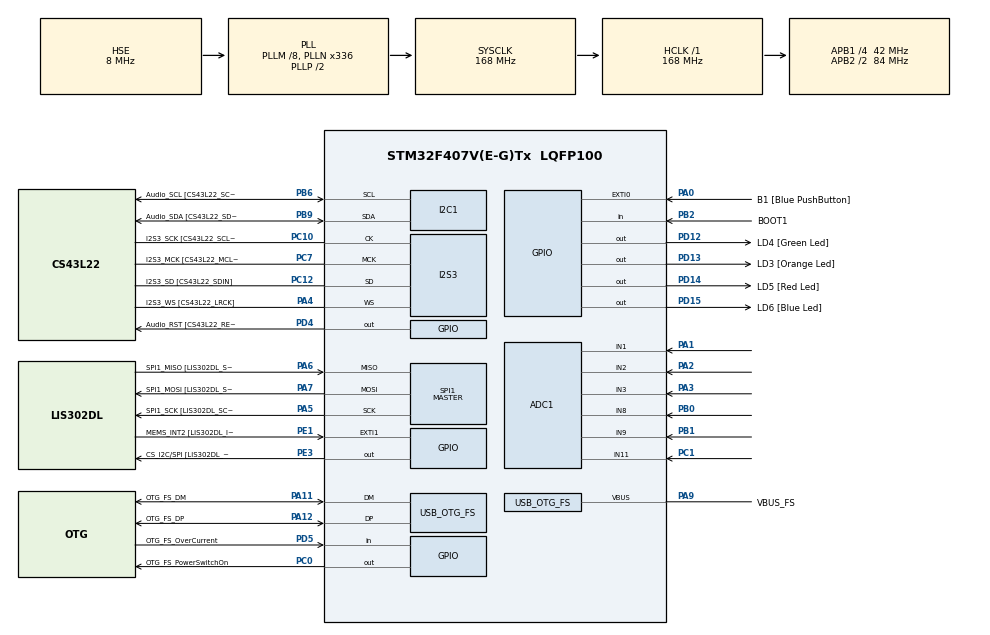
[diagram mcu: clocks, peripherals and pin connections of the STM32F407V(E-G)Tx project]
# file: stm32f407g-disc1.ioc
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ADC1.Channel-0\#ChannelRegularConversion=ADC_CHANNEL_1
ADC1.DMAContinuousRequests=ENABLE
ADC1.ExternalTrigConv=ADC_EXTERNALTRIGCONV_T3_TRGO
ADC1.NbrOfConversion=1
ADC1.NbrOfConversionFlag=1
ADC1.Rank-0\#ChannelRegularConversion=1
ADC1.SamplingTime-0\#ChannelRegularConversion=ADC_SAMPLETIME_3CYCLES
ADC1.ScanConvMode=ENABLE
ADC1.master=1
Dma.ADC1.0.Direction=DMA_PERIPH_TO_MEMORY
Dma.ADC1.0.FIFOMode=DMA_FIFOMODE_DISABLE
Dma.ADC1.0.Instance=DMA2_Stream0
Dma.ADC1.0.MemDataAlignment=DMA_MDATAALIGN_HALFWORD
Dma.ADC1.0.MemInc=DMA_MINC_ENABLE
Dma.ADC1.0.Mode=DMA_CIRCULAR
Dma.ADC1.0.PeriphDataAlignment=DMA_PDATAALIGN_HALFWORD
Dma.ADC1.0.PeriphInc=DMA_PINC_DISABLE
Dma.ADC1.0.Priority=DMA_PRIORITY_VERY_HIGH
Dma.Request0=ADC1
I2S3.AudioFreq-Half_Duplex_Master=I2S_AUDIOFREQ_96K
I2S3.ErrorAudioFreq=-2.34 %
I2S3.ErrorAudioFreq-Half_Duplex_Master=0.8 %
I2S3.FullDuplexMode=I2S_FULLDUPLEXMODE_DISABLE
I2S3.Instance=SPI$Index
I2S3.RealAudioFreq=93.75 KHz
I2S3.RealAudioFreq-Half_Duplex_Master=96.774 KHz
I2S3.VirtualMode=I2S_MODE_MASTER
Mcu.Family=STM32F4
Mcu.Name=STM32F407V(E-G)Tx
Mcu.Package=LQFP100
NVIC.DMA2_Stream0_IRQn=true\:0\:0\:false\:false\:true\:false\:true\:true
NVIC.OTG_FS_IRQn=true\:0\:0\:false\:false\:true\:true\:true\:true
NVIC.PriorityGroup=NVIC_PRIORITYGROUP_2
NVIC.TIM4_IRQn=true\:1\:0\:true\:false\:true\:true\:true\:true
NVIC.TIM5_IRQn=true\:2\:0\:true\:false\:true\:true\:true\:true
PA0-WKUP.GPIO_Label=B1 [Blue PushButton]
PA0-WKUP.GPIO_ModeDefaultEXTI=GPIO_MODE_EVT_RISING
PA0-WKUP.GPIO_PuPd=GPIO_NOPULL
PA0-WKUP.Signal=GPXTI0
PA1.Signal=ADCx_IN1
PA10.GPIO_Label=OTG_FS_ID
PA10.GPIO_Mode=GPIO_MODE_AF_PP
PA10.GPIO_PuPd=GPIO_NOPULL
PA10.GPIO_Speed=GPIO_SPEED_FREQ_LOW
PA10.Signal=USB_OTG_FS_ID
PA11.GPIO_Label=OTG_FS_DM
PA11.GPIO_Mode=GPIO_MODE_AF_PP
PA11.GPIO_PuPd=GPIO_NOPULL
PA11.GPIO_Speed=GPIO_SPEED_FREQ_LOW
PA11.Mode=Host_Only
PA11.Signal=USB_OTG_FS_DM
PA12.GPIO_Label=OTG_FS_DP
PA12.GPIO_Mode=GPIO_MODE_AF_PP
PA12.GPIO_PuPd=GPIO_NOPULL
PA12.GPIO_Speed=GPIO_SPEED_FREQ_LOW
PA12.Mode=Host_Only
PA12.Signal=USB_OTG_FS_DP
PA13.GPIO_Label=SWDIO
PA13.Mode=Serial_Wire
PA13.Signal=SYS_JTMS-SWDIO
PA14.GPIO_Label=SWCLK
PA14.Mode=Serial_Wire
PA14.Signal=SYS_JTCK-SWCLK
PA2.Signal=ADCx_IN2
PA3.Signal=ADCx_IN3
PA4.GPIO_Label=I2S3_WS [CS43L22_LRCK]
PA4.GPIO_Mode=GPIO_MODE_AF_PP
PA4.GPIO_PuPd=GPIO_NOPULL
PA4.GPIO_Speed=GPIO_SPEED_FREQ_LOW
PA4.Mode=Half_Duplex_Master
PA4.Signal=I2S3_WS
PA5.GPIO_Label=SPI1_SCK [LIS302DL_SCL/SPC]
PA5.GPIO_Mode=GPIO_MODE_AF_PP
PA5.GPIO_PuPd=GPIO_NOPULL
PA5.GPIO_Speed=GPIO_SPEED_FREQ_LOW
PA5.Mode=Full_Duplex_Master
PA5.Signal=SPI1_SCK
PA6.GPIO_Label=SPI1_MISO [LIS302DL_SDO]
PA6.GPIO_Mode=GPIO_MODE_AF_PP
PA6.GPIO_PuPd=GPIO_NOPULL
PA6.GPIO_Speed=GPIO_SPEED_FREQ_LOW
PA6.Mode=Full_Duplex_Master
PA6.Signal=SPI1_MISO
PA7.GPIO_Label=SPI1_MOSI [LIS302DL_SDA/SDI/SDO]
PA7.GPIO_Mode=GPIO_MODE_AF_PP
PA7.GPIO_PuPd=GPIO_NOPULL
PA7.GPIO_Speed=GPIO_SPEED_FREQ_LOW
PA7.Mode=Full_Duplex_Master
PA7.Signal=SPI1_MOSI
PA9.GPIO_Label=VBUS_FS
PA9.GPIO_Mode=GPIO_MODE_INPUT
PA9.GPIO_PuPd=GPIO_NOPULL
PA9.Mode=Activate_VBUS
PA9.Signal=USB_OTG_FS_VBUS
PB0.Signal=ADCx_IN8
PB1.Signal=ADCx_IN9
PB10.GPIO_Label=CLK_IN [MP45DT02_CLK]
PB10.GPIO_Mode=GPIO_MODE_AF_PP
PB10.GPIO_PuPd=GPIO_NOPULL
PB10.GPIO_Speed=GPIO_SPEED_FREQ_LOW
PB10.Signal=I2S2_CK
PB2.GPIO_Label=BOOT1
PB2.GPIO_Mode=GPIO_MODE_INPUT
PB2.GPIO_PuPd=GPIO_NOPULL
PB2.Signal=GPIO_Input
PB3.GPIO_Label=SWO
PB3.Signal=SYS_JTDO-SWO
PB6.GPIO_Label=Audio_SCL [CS43L22_SCL]
PB6.GPIO_Mode=GPIO_MODE_AF_OD
PB6.GPIO_Pu=GPIO_PULLUP
PB6.GPIO_PuPd=GPIO_NOPULL
PB6.GPIO_Speed=GPIO_SPEED_FREQ_LOW
PB6.Mode=I2C
PB6.Signal=I2C1_SCL
PB9.GPIO_Label=Audio_SDA [CS43L22_SDA]
PB9.GPIO_Mode=GPIO_MODE_AF_OD
PB9.GPIO_Pu=GPIO_PULLUP
PB9.GPIO_PuPd=GPIO_NOPULL
PB9.GPIO_Speed=GPIO_SPEED_FREQ_LOW
PB9.Mode=I2C
PB9.Signal=I2C1_SDA
PC0.GPIO_Label=OTG_FS_PowerSwitchOn
PC0.GPIO_PuPd=GPIO_NOPULL
PC0.GPIO_Speed=GPIO_SPEED_FREQ_LOW
PC0.PinState=GPIO_PIN_SET
PC0.Signal=GPIO_Output
PC1.Signal=ADCx_IN11
PC10.GPIO_Label=I2S3_SCK [CS43L22_SCLK]
PC10.GPIO_Mode=GPIO_MODE_AF_PP
PC10.GPIO_PuPd=GPIO_NOPULL
PC10.GPIO_Speed=GPIO_SPEED_FREQ_LOW
PC10.Mode=Half_Duplex_Master
PC10.Signal=I2S3_CK
PC12.GPIO_Label=I2S3_SD [CS43L22_SDIN]
PC12.GPIO_Mode=GPIO_MODE_AF_PP
PC12.GPIO_PuPd=GPIO_NOPULL
PC12.GPIO_Speed=GPIO_SPEED_FREQ_LOW
PC12.Mode=Half_Duplex_Master
PC12.Signal=I2S3_SD
PC14-OSC32_IN.GPIO_Label=PC14-OSC32_IN
PC14-OSC32_IN.Mode=LSE-External-Oscillator
PC14-OSC32_IN.Signal=RCC_OSC32_IN
PC15-OSC32_OUT.GPIO_Label=PC15-OSC32_OUT
PC15-OSC32_OUT.Mode=LSE-External-Oscillator
PC15-OSC32_OUT.Signal=RCC_OSC32_OUT
PC3.GPIO_Label=PDM_OUT [MP45DT02_DOUT]
PC3.GPIO_Mode=GPIO_MODE_AF_PP
PC3.GPIO_PuPd=GPIO_NOPULL
PC3.GPIO_Speed=GPIO_SPEED_FREQ_LOW
PC3.Signal=I2S2_SD
PC7.GPIO_Label=I2S3_MCK [CS43L22_MCLK]
PC7.GPIO_Mode=GPIO_MODE_AF_PP
PC7.GPIO_PuPd=GPIO_NOPULL
PC7.GPIO_Speed=GPIO_SPEED_FREQ_LOW
PC7.Mode=Master_Clock_Activated
PC7.Signal=I2S3_MCK
PD12.GPIO_Label=LD4 [Green Led]
PD12.GPIO_PuPd=GPIO_NOPULL
PD12.GPIO_Speed=GPIO_SPEED_FREQ_LOW
PD12.Signal=GPIO_Output
PD13.GPIO_Label=LD3 [Orange Led]
PD13.GPIO_PuPd=GPIO_NOPULL
PD13.GPIO_Speed=GPIO_SPEED_FREQ_LOW
PD13.Signal=GPIO_Output
PD14.GPIO_Label=LD5 [Red Led]
PD14.GPIO_PuPd=GPIO_NOPULL
PD14.GPIO_Speed=GPIO_SPEED_FREQ_LOW
PD14.Signal=GPIO_Output
PD15.GPIO_Label=LD6 [Blue Led]
PD15.GPIO_PuPd=GPIO_NOPULL
PD15.GPIO_Speed=GPIO_SPEED_FREQ_LOW
PD15.Signal=GPIO_Output
PD4.GPIO_Label=Audio_RST [CS43L22_RESET]
PD4.GPIO_PuPd=GPIO_NOPULL
PD4.GPIO_Speed=GPIO_SPEED_FREQ_LOW
PD4.Signal=GPIO_Output
PD5.GPIO_Label=OTG_FS_OverCurrent
PD5.GPIO_Mode=GPIO_MODE_INPUT
PD5.GPIO_PuPd=GPIO_NOPULL
PD5.Signal=GPIO_Input
PE1.GPIO_Label=MEMS_INT2 [LIS302DL_INT2]
PE1.GPIO_ModeDefaultEXTI=GPIO_MODE_EVT_RISING
PE1.GPIO_PuPd=GPIO_NOPULL
PE1.Signal=GPXTI1
PE3.GPIO_Label=CS_I2C/SPI [LIS302DL_CS_I2C/SPI]
PE3.GPIO_PuPd=GPIO_NOPULL
PE3.GPIO_Speed=GPIO_SPEED_FREQ_LOW
PE3.Signal=GPIO_Output
PH0-OSC_IN.GPIO_Label=PH0-OSC_IN
PH0-OSC_IN.Mode=HSE-External-Oscillator
PH0-OSC_IN.Signal=RCC_OSC_IN
PH1-OSC_OUT.GPIO_Label=PH1-OSC_OUT
PH1-OSC_OUT.Mode=HSE-External-Oscillator
PH1-OSC_OUT.Signal=RCC_OSC_OUT
ProjectManager.HeapSize=0x200
ProjectManager.StackSize=0x400
ProjectManager.TargetToolchain=CMake
RCC.48MHZClocksFreq_Value=48000000
RCC.AHBFreq_Value=168000000
RCC.APB1CLKDivider=RCC_HCLK_DIV4
RCC.APB1Freq_Value=42000000
RCC.APB1TimFreq_Value=84000000
RCC.APB2CLKDivider=RCC_HCLK_DIV2
RCC.APB2Freq_Value=84000000
RCC.APB2TimFreq_Value=168000000
RCC.CortexFreq_Value=168000000
RCC.HCLKFreq_Value=168000000
RCC.HSE_VALUE=8000000
RCC.HSI_VALUE=16000000
RCC.PLLM=8
RCC.PLLN=336
RCC.PLLQ=7
RCC.SYSCLKFreq_VALUE=168000000
RCC.SYSCLKSource=RCC_SYSCLKSOURCE_PLLCLK
RCC.VCOOutputFreq_Value=336000000
SH.ADCx_IN1.0=ADC1_IN1,IN1
SH.ADCx_IN11.0=ADC1_IN11,IN11
SH.ADCx_IN2.0=ADC1_IN2,IN2
SH.ADCx_IN3.0=ADC1_IN3,IN3
SH.ADCx_IN8.0=ADC1_IN8,IN8
SH.ADCx_IN9.0=ADC1_IN9,IN9
SPI1.BaudRatePrescaler-Full_Duplex_Master=SPI_BAUDRATEPRESCALER_2
SPI1.CalculateBaudRate-Full_Duplex_Master=42.0 MBits/s
SPI1.Direction=SPI_DIRECTION_2LINES
SPI1.Mode=SPI_MODE_MASTER
SPI1.Mode-Full_Duplex_Master=SPI_MODE_MASTER
SPI1.VirtualType=VM_MASTER
TIM3.Period=16799
TIM3.TIM_MasterOutputTrigger=TIM_TRGO_UPDATE
TIM3.TIM_MasterSlaveMode=TIM_MASTERSLAVEMODE_DISABLE
TIM4.Period=999
TIM4.Prescaler=83
TIM5.Period=9999
TIM5.Prescaler=83
USB_HOST.BSP.number=1
USB_HOST.USBH_HandleTypeDef-CDC_FS=hUsbHostFS
USB_HOST.VirtualModeFS=Cdc
USB_HOST0.BSP.STBoard=false
USB_HOST0.BSP.api=Unknown
USB_HOST0.BSP.instance=PC0
USB_HOST0.BSP.ip=GPIO
USB_HOST0.BSP.mode=Output
USB_HOST0.BSP.name=Drive_VBUS_FS
USB_HOST0.BSP.solution=PC0
USB_OTG_FS.VirtualMode=Host_Only
USB_OTG_FS.phy_itface=HCD_PHY_EMBEDDED
VP_TIM2_VS_ClockSourceINT.Mode=Internal
VP_TIM3_VS_ClockSourceINT.Mode=Internal
VP_TIM4_VS_ClockSourceINT.Mode=Internal
VP_TIM5_VS_ClockSourceINT.Mode=Internal
VP_USB_HOST_VS_USB_HOST_CDC_FS.Mode=CDC_FS
board=STM32F407G-DISC1

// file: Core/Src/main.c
/* USER CODE BEGIN Header */
/**
 ******************************************************************************
 * @file           : main.c
 * @brief          : Main program body
 ******************************************************************************
 * @attention
 *
 * Copyright (c) 2025 STMicroelectronics.
 * All rights reserved.
 *
 * This software is licensed under terms that can be found in the LICENSE file
 * in the root directory of this software component.
 * If no LICENSE file comes with this software, it is provided AS-IS.
 *
 ******************************************************************************
 */
/* USER CODE END Header */
#include "main.h"

#include "usb_host.h"

/* USER CODE BEGIN PD */

// LED toggle counts for 1 Hz blink rate (500ms ON, 500ms OFF)
#define TASK1_TOGGLE_COUNT 2500  // Task 1 @ 200µs: 2500 × 200µs = 500ms
#define TASK2_TOGGLE_COUNT 500   // Task 2 @ 1ms:   500 × 1ms = 500ms
#define TASK3_TOGGLE_COUNT 50    // Task 3 @ 10ms:  50 × 10ms = 500ms

/* USER CODE END PD */

ADC_HandleTypeDef hadc1;
DMA_HandleTypeDef hdma_adc1;

I2C_HandleTypeDef hi2c1;

I2S_HandleTypeDef hi2s3;

SPI_HandleTypeDef hspi1;

TIM_HandleTypeDef htim2;
TIM_HandleTypeDef htim3;
TIM_HandleTypeDef htim4;
TIM_HandleTypeDef htim5;

/* USER CODE BEGIN PV */
// Task execution counters for LED visual feedback
static int task1_counter = 0;
static int task2_counter = 0;
static int task3_counter = 0;

// ADC DMA buffer - must be static/global for DMA access
static volatile uint16_t adc_dma_buffer[1];

// Diagnostic counters for debugging
volatile uint32_t g_adc_callback_count = 0;
volatile uint32_t g_tim4_callback_count = 0;
volatile uint32_t g_tim5_callback_count = 0;
volatile uint32_t g_adc_error_count = 0;

// Application initialization status
static bool application_ok = false;
/* USER CODE END PV */

void SystemClock_Config(void);
static void MX_GPIO_Init(void);
static void MX_DMA_Init(void);
static void MX_I2C1_Init(void);
static void MX_I2S3_Init(void);
static void MX_SPI1_Init(void);
static void MX_TIM2_Init(void);
static void MX_TIM3_Init(void);
static void MX_TIM4_Init(void);
static void MX_TIM5_Init(void);
static void MX_ADC1_Init(void);
void MX_USB_HOST_Process(void);

/* USER CODE BEGIN 0 */

// Include task I/O structures
#include "sfc_embedded/task_io.h"

// Forward declarations for task functions (defined in yeet application layer)
extern void yeet_task_200us(const task_inputs_t* inputs, task_outputs_t* outputs);
extern void yeet_task_1000us(const task_inputs_t* inputs, task_outputs_t* outputs);
extern void yeet_task_10000us(const task_inputs_t* inputs, task_outputs_t* outputs);

/* USER CODE END 0 */

int main(void)
{

    /* MCU Configuration--------------------------------------------------------*/

    /* Reset of all peripherals, Initializes the Flash interface and the Systick. */
    HAL_Init();

    /* USER CODE BEGIN Init */
    yeet_embedded_init();
    application_ok = true;
    /* USER CODE END Init */

    /* Configure the system clock */
    SystemClock_Config();

    /* Initialize all configured peripherals */
    MX_GPIO_Init();
    MX_DMA_Init();
    MX_I2C1_Init();
    MX_I2S3_Init();
    MX_SPI1_Init();
    MX_USB_HOST_Init();
    MX_TIM2_Init();
    MX_TIM3_Init();
    MX_TIM4_Init();
    MX_TIM5_Init();
    MX_ADC1_Init();
    /* USER CODE BEGIN 2 */

    // Verify DMA is initialized
    if (hdma_adc1.Instance == NULL) {
        Error_Handler();  // DMA not initialized!
    }

    // Start ADC with DMA
    HAL_StatusTypeDef adc_status = HAL_ADC_Start_DMA(&hadc1, (uint32_t*)adc_dma_buffer, 1);
    if (adc_status != HAL_OK) {
        Error_Handler();  // ADC/DMA start failed
    }

    // Verify ADC is in correct state
    if (hadc1.State != HAL_ADC_STATE_REG_BUSY) {
        Error_Handler();  // ADC didn't enter busy state
    }

    // Start timer trigger
    HAL_StatusTypeDef tim_status = HAL_TIM_Base_Start(&htim3);
    if (tim_status != HAL_OK) {
        Error_Handler();  // Timer start failed
    }

    // Visual confirmation: Flash all LEDs once to indicate successful startup
    HAL_GPIO_WritePin(GPIOD, GPIO_PIN_12 | GPIO_PIN_13 | GPIO_PIN_14 | GPIO_PIN_15, GPIO_PIN_SET);
    HAL_Delay(100);
    HAL_GPIO_WritePin(GPIOD, GPIO_PIN_12 | GPIO_PIN_13 | GPIO_PIN_14 | GPIO_PIN_15, GPIO_PIN_RESET);

    // Start other tasks
    HAL_TIM_Base_Start_IT(&htim4);
    HAL_TIM_Base_Start_IT(&htim5);

    /* USER CODE END 2 */

    /* Infinite loop */
    while (1) {
        MX_USB_HOST_Process();

        /* USER CODE BEGIN 3 */

        // ==================== NON-REAL-TIME NETWORK COMMUNICATION ====================
        // For boards with network (W5200), call yeet_network() here in main loop
        // This handles TCP/IP and UDP communication for supervisory control
        //
        // Example integration (uncomment and adapt for CN board):
        // static network_inputs_t net_inputs = {0};
        // static network_outputs_t net_outputs = {0};
        //
        // // Check for incoming TCP data
        // uint16_t rx_size = W5200_GetRxSize(&w5200_spi2, 0);
        // if (rx_size > 0 && rx_size <= TASK_IO_NETWORK_MAX_PACKET_SIZE) {
        //     net_inputs.network_rx.rx_length = W5200_Receive(&w5200_spi2, 0,
        //                                                      net_inputs.network_rx.rx_buffer,
        //                                                      rx_size);
        //     net_inputs.network_rx.data_ready = (net_inputs.network_rx.rx_length > 0);
        //     net_inputs.network_rx.tcp_connected = (W5200_GetSocketStatus(&w5200_spi2, 0) == W5200_SOCK_ESTABLISHED);
        //     net_inputs.network_rx.socket_id = 0;
        // }
        //
        // // Call network handler
        // yeet_network(&net_inputs, &net_outputs);
        //
        // // Transmit if requested
        // if (net_outputs.network_tx.transmit_request && net_inputs.network_rx.tcp_connected) {
        //     W5200_Send(&w5200_spi2, net_outputs.network_tx.socket_id,
        //                net_outputs.network_tx.tx_buffer,
        //                net_outputs.network_tx.tx_length);
        //     net_outputs.network_tx.transmit_request = false;
        // }
    }
    /* USER CODE END 3 */
}

void SystemClock_Config(void)
{
    RCC_OscInitTypeDef RCC_OscInitStruct = {0};
    RCC_ClkInitTypeDef RCC_ClkInitStruct = {0};

    /** Configure the main internal regulator output voltage
     */
    __HAL_RCC_PWR_CLK_ENABLE();
    __HAL_PWR_VOLTAGESCALING_CONFIG(PWR_REGULATOR_VOLTAGE_SCALE1);

    /** Initializes the RCC Oscillators according to the specified parameters
     * in the RCC_OscInitTypeDef structure.
     */
    RCC_OscInitStruct.OscillatorType = RCC_OSCILLATORTYPE_HSE;
    RCC_OscInitStruct.HSEState = RCC_HSE_ON;
    RCC_OscInitStruct.PLL.PLLState = RCC_PLL_ON;
    RCC_OscInitStruct.PLL.PLLSource = RCC_PLLSOURCE_HSE;
    RCC_OscInitStruct.PLL.PLLM = 8;
    RCC_OscInitStruct.PLL.PLLN = 336;
    RCC_OscInitStruct.PLL.PLLP = RCC_PLLP_DIV2;
    RCC_OscInitStruct.PLL.PLLQ = 7;
    if (HAL_RCC_OscConfig(&RCC_OscInitStruct) != HAL_OK) {
        Error_Handler();
    }

    /** Initializes the CPU, AHB and APB buses clocks
     */
    RCC_ClkInitStruct.ClockType = RCC_CLOCKTYPE_HCLK | RCC_CLOCKTYPE_SYSCLK | RCC_CLOCKTYPE_PCLK1 | RCC_CLOCKTYPE_PCLK2;
    RCC_ClkInitStruct.SYSCLKSource = RCC_SYSCLKSOURCE_PLLCLK;
    RCC_ClkInitStruct.AHBCLKDivider = RCC_SYSCLK_DIV1;
    RCC_ClkInitStruct.APB1CLKDivider = RCC_HCLK_DIV4;
    RCC_ClkInitStruct.APB2CLKDivider = RCC_HCLK_DIV2;

    if (HAL_RCC_ClockConfig(&RCC_ClkInitStruct, FLASH_LATENCY_5) != HAL_OK) {
        Error_Handler();
    }
}

static void MX_ADC1_Init(void)
{

    ADC_ChannelConfTypeDef sConfig = {0};

    /** Configure the global features of the ADC (Clock, Resolution, Data Alignment and number of conversion)
     */
    hadc1.Instance = ADC1;
    hadc1.Init.ClockPrescaler = ADC_CLOCK_SYNC_PCLK_DIV4;
    hadc1.Init.Resolution = ADC_RESOLUTION_12B;
    hadc1.Init.ScanConvMode = ENABLE;
    hadc1.Init.ContinuousConvMode = DISABLE;
    hadc1.Init.DiscontinuousConvMode = DISABLE;
    hadc1.Init.ExternalTrigConvEdge = ADC_EXTERNALTRIGCONVEDGE_RISING;
    hadc1.Init.ExternalTrigConv = ADC_EXTERNALTRIGCONV_T3_TRGO;
    hadc1.Init.DataAlign = ADC_DATAALIGN_RIGHT;
    hadc1.Init.NbrOfConversion = 1;
    hadc1.Init.DMAContinuousRequests = ENABLE;
    hadc1.Init.EOCSelection = ADC_EOC_SINGLE_CONV;
    if (HAL_ADC_Init(&hadc1) != HAL_OK) {
        Error_Handler();
    }

    /** Configure for the selected ADC regular channel its corresponding rank in the sequencer and its sample time.
     */
    sConfig.Channel = ADC_CHANNEL_1;
    sConfig.Rank = 1;
    sConfig.SamplingTime = ADC_SAMPLETIME_3CYCLES;
    if (HAL_ADC_ConfigChannel(&hadc1, &sConfig) != HAL_OK) {
        Error_Handler();
    }
}

static void MX_I2C1_Init(void)
{

    hi2c1.Instance = I2C1;
    hi2c1.Init.ClockSpeed = 100000;
    hi2c1.Init.DutyCycle = I2C_DUTYCYCLE_2;
    hi2c1.Init.OwnAddress1 = 0;
    hi2c1.Init.AddressingMode = I2C_ADDRESSINGMODE_7BIT;
    hi2c1.Init.DualAddressMode = I2C_DUALADDRESS_DISABLE;
    hi2c1.Init.OwnAddress2 = 0;
    hi2c1.Init.GeneralCallMode = I2C_GENERALCALL_DISABLE;
    hi2c1.Init.NoStretchMode = I2C_NOSTRETCH_DISABLE;
    if (HAL_I2C_Init(&hi2c1) != HAL_OK) {
        Error_Handler();
    }
}

static void MX_I2S3_Init(void)
{

    hi2s3.Instance = SPI3;
    hi2s3.Init.Mode = I2S_MODE_MASTER_TX;
    hi2s3.Init.Standard = I2S_STANDARD_PHILIPS;
    hi2s3.Init.DataFormat = I2S_DATAFORMAT_16B;
    hi2s3.Init.MCLKOutput = I2S_MCLKOUTPUT_ENABLE;
    hi2s3.Init.AudioFreq = I2S_AUDIOFREQ_96K;
    hi2s3.Init.CPOL = I2S_CPOL_LOW;
    hi2s3.Init.ClockSource = I2S_CLOCK_PLL;
    hi2s3.Init.FullDuplexMode = I2S_FULLDUPLEXMODE_DISABLE;
    if (HAL_I2S_Init(&hi2s3) != HAL_OK) {
        Error_Handler();
    }
}

static void MX_SPI1_Init(void)
{

    /* SPI1 parameter configuration*/
    hspi1.Instance = SPI1;
    hspi1.Init.Mode = SPI_MODE_MASTER;
    hspi1.Init.Direction = SPI_DIRECTION_2LINES;
    hspi1.Init.DataSize = SPI_DATASIZE_8BIT;
    hspi1.Init.CLKPolarity = SPI_POLARITY_LOW;
    hspi1.Init.CLKPhase = SPI_PHASE_1EDGE;
    hspi1.Init.NSS = SPI_NSS_SOFT;
    hspi1.Init.BaudRatePrescaler = SPI_BAUDRATEPRESCALER_2;
    hspi1.Init.FirstBit = SPI_FIRSTBIT_MSB;
    hspi1.Init.TIMode = SPI_TIMODE_DISABLE;
    hspi1.Init.CRCCalculation = SPI_CRCCALCULATION_DISABLE;
    hspi1.Init.CRCPolynomial = 10;
    if (HAL_SPI_Init(&hspi1) != HAL_OK) {
        Error_Handler();
    }
}

static void MX_TIM2_Init(void)
{

    TIM_ClockConfigTypeDef sClockSourceConfig = {0};
    TIM_MasterConfigTypeDef sMasterConfig = {0};

    /* USER CODE BEGIN TIM2_Init 1 */
    // Configure for 5 kHz interrupt rate (200 µs period)
    // APB1 timer clock = 84 MHz
    // Calculation: 84,000,000 / (Prescaler+1) / (Period+1) = 5,000
    // Solution: Prescaler = 0, Period = 16799
    // Check: 84,000,000 / 1 / 16800 = 5,000 Hz ✅ → 200 µs
    /* USER CODE END TIM2_Init 1 */
    htim2.Instance = TIM2;
    htim2.Init.Prescaler = 0;
    htim2.Init.CounterMode = TIM_COUNTERMODE_UP;
    htim2.Init.Period = 4294967295;
    htim2.Init.ClockDivision = TIM_CLOCKDIVISION_DIV1;
    htim2.Init.AutoReloadPreload = TIM_AUTORELOAD_PRELOAD_DISABLE;
    if (HAL_TIM_Base_Init(&htim2) != HAL_OK) {
        Error_Handler();
    }
    sClockSourceConfig.ClockSource = TIM_CLOCKSOURCE_INTERNAL;
    if (HAL_TIM_ConfigClockSource(&htim2, &sClockSourceConfig) != HAL_OK) {
        Error_Handler();
    }
    sMasterConfig.MasterOutputTrigger = TIM_TRGO_RESET;
    sMasterConfig.MasterSlaveMode = TIM_MASTERSLAVEMODE_DISABLE;
    if (HAL_TIMEx_MasterConfigSynchronization(&htim2, &sMasterConfig) != HAL_OK) {
        Error_Handler();
    }
}

static void MX_TIM3_Init(void)
{

    TIM_ClockConfigTypeDef sClockSourceConfig = {0};
    TIM_MasterConfigTypeDef sMasterConfig = {0};

    /* USER CODE BEGIN TIM3_Init 1 */
    // Configure for 5 kHz interrupt rate (200 µs period) - Task 1
    // APB1 timer clock = 84 MHz
    // Calculation: 84,000,000 / (Prescaler+1) / (Period+1) = 5,000
    // Solution: Prescaler = 0, Period = 16799
    // Check: 84,000,000 / 1 / 16800 = 5,000 Hz ✅ → 200 µs
    /* USER CODE END TIM3_Init 1 */
    htim3.Instance = TIM3;
    htim3.Init.Prescaler = 0;
    htim3.Init.CounterMode = TIM_COUNTERMODE_UP;
    htim3.Init.Period = 16799;
    htim3.Init.ClockDivision = TIM_CLOCKDIVISION_DIV1;
    htim3.Init.AutoReloadPreload = TIM_AUTORELOAD_PRELOAD_DISABLE;
    if (HAL_TIM_Base_Init(&htim3) != HAL_OK) {
        Error_Handler();
    }
    sClockSourceConfig.ClockSource = TIM_CLOCKSOURCE_INTERNAL;
    if (HAL_TIM_ConfigClockSource(&htim3, &sClockSourceConfig) != HAL_OK) {
        Error_Handler();
    }
    sMasterConfig.MasterOutputTrigger = TIM_TRGO_UPDATE;
    sMasterConfig.MasterSlaveMode = TIM_MASTERSLAVEMODE_DISABLE;
    if (HAL_TIMEx_MasterConfigSynchronization(&htim3, &sMasterConfig) != HAL_OK) {
        Error_Handler();
    }
}

static void MX_TIM4_Init(void)
{

    TIM_ClockConfigTypeDef sClockSourceConfig = {0};
    TIM_MasterConfigTypeDef sMasterConfig = {0};

    /* USER CODE BEGIN TIM4_Init 1 */
    // Configure for 1 kHz interrupt rate (1 ms period) - Task 2
    // APB1 timer clock = 84 MHz
    // Calculation: 84,000,000 / (Prescaler+1) / (Period+1) = 1,000
    // Solution: Prescaler = 83, Period = 999
    // Check: 84,000,000 / 84 / 1000 = 1,000 Hz ✅ → 1 ms
    /* USER CODE END TIM4_Init 1 */
    htim4.Instance = TIM4;
    htim4.Init.Prescaler = 83;
    htim4.Init.CounterMode = TIM_COUNTERMODE_UP;
    htim4.Init.Period = 999;
    htim4.Init.ClockDivision = TIM_CLOCKDIVISION_DIV1;
    htim4.Init.AutoReloadPreload = TIM_AUTORELOAD_PRELOAD_DISABLE;
    if (HAL_TIM_Base_Init(&htim4) != HAL_OK) {
        Error_Handler();
    }
    sClockSourceConfig.ClockSource = TIM_CLOCKSOURCE_INTERNAL;
    if (HAL_TIM_ConfigClockSource(&htim4, &sClockSourceConfig) != HAL_OK) {
        Error_Handler();
    }
    sMasterConfig.MasterOutputTrigger = TIM_TRGO_RESET;
    sMasterConfig.MasterSlaveMode = TIM_MASTERSLAVEMODE_DISABLE;
    if (HAL_TIMEx_MasterConfigSynchronization(&htim4, &sMasterConfig) != HAL_OK) {
        Error_Handler();
    }
}

static void MX_TIM5_Init(void)
{

    TIM_ClockConfigTypeDef sClockSourceConfig = {0};
    TIM_MasterConfigTypeDef sMasterConfig = {0};

    /* USER CODE BEGIN TIM5_Init 1 */
    // Configure for 100 Hz interrupt rate (10 ms period) - Task 3
    // APB1 timer clock = 84 MHz
    // Calculation: 84,000,000 / (Prescaler+1) / (Period+1) = 100
    // Solution: Prescaler = 83, Period = 9999
    // Check: 84,000,000 / 84 / 10000 = 100 Hz ✅ → 10 ms
    /* USER CODE END TIM5_Init 1 */
    htim5.Instance = TIM5;
    htim5.Init.Prescaler = 83;
    htim5.Init.CounterMode = TIM_COUNTERMODE_UP;
    htim5.Init.Period = 9999;
    htim5.Init.ClockDivision = TIM_CLOCKDIVISION_DIV1;
    htim5.Init.AutoReloadPreload = TIM_AUTORELOAD_PRELOAD_DISABLE;
    if (HAL_TIM_Base_Init(&htim5) != HAL_OK) {
        Error_Handler();
    }
    sClockSourceConfig.ClockSource = TIM_CLOCKSOURCE_INTERNAL;
    if (HAL_TIM_ConfigClockSource(&htim5, &sClockSourceConfig) != HAL_OK) {
        Error_Handler();
    }
    sMasterConfig.MasterOutputTrigger = TIM_TRGO_RESET;
    sMasterConfig.MasterSlaveMode = TIM_MASTERSLAVEMODE_DISABLE;
    if (HAL_TIMEx_MasterConfigSynchronization(&htim5, &sMasterConfig) != HAL_OK) {
        Error_Handler();
    }
}

static void MX_DMA_Init(void)
{
    /* DMA controller clock enable */
    __HAL_RCC_DMA2_CLK_ENABLE();

    /* DMA interrupt init */
    /* DMA2_Stream0_IRQn interrupt configuration */
    HAL_NVIC_SetPriority(DMA2_Stream0_IRQn, 0, 0);
    HAL_NVIC_EnableIRQ(DMA2_Stream0_IRQn);
}

static void MX_GPIO_Init(void)
{
    GPIO_InitTypeDef GPIO_InitStruct = {0};

    /* GPIO Ports Clock Enable */
    __HAL_RCC_GPIOE_CLK_ENABLE();
    __HAL_RCC_GPIOC_CLK_ENABLE();
    __HAL_RCC_GPIOH_CLK_ENABLE();
    __HAL_RCC_GPIOA_CLK_ENABLE();
    __HAL_RCC_GPIOB_CLK_ENABLE();
    __HAL_RCC_GPIOD_CLK_ENABLE();

    /*Configure GPIO pin Output Level */
    HAL_GPIO_WritePin(CS_I2C_SPI_GPIO_Port, CS_I2C_SPI_Pin, GPIO_PIN_RESET);

    /*Configure GPIO pin Output Level */
    HAL_GPIO_WritePin(OTG_FS_PowerSwitchOn_GPIO_Port, OTG_FS_PowerSwitchOn_Pin, GPIO_PIN_SET);

    /*Configure GPIO pin Output Level */
    HAL_GPIO_WritePin(GPIOD, LD4_Pin | LD3_Pin | LD5_Pin | LD6_Pin | Audio_RST_Pin, GPIO_PIN_RESET);

    /*Configure GPIO pin : CS_I2C_SPI_Pin */
    GPIO_InitStruct.Pin = CS_I2C_SPI_Pin;
    GPIO_InitStruct.Mode = GPIO_MODE_OUTPUT_PP;
    GPIO_InitStruct.Pull = GPIO_NOPULL;
    GPIO_InitStruct.Speed = GPIO_SPEED_FREQ_LOW;
    HAL_GPIO_Init(CS_I2C_SPI_GPIO_Port, &GPIO_InitStruct);

    /*Configure GPIO pin : OTG_FS_PowerSwitchOn_Pin */
    GPIO_InitStruct.Pin = OTG_FS_PowerSwitchOn_Pin;
    GPIO_InitStruct.Mode = GPIO_MODE_OUTPUT_PP;
    GPIO_InitStruct.Pull = GPIO_NOPULL;
    GPIO_InitStruct.Speed = GPIO_SPEED_FREQ_LOW;
    HAL_GPIO_Init(OTG_FS_PowerSwitchOn_GPIO_Port, &GPIO_InitStruct);

    /*Configure GPIO pin : PDM_OUT_Pin */
    GPIO_InitStruct.Pin = PDM_OUT_Pin;
    GPIO_InitStruct.Mode = GPIO_MODE_AF_PP;
    GPIO_InitStruct.Pull = GPIO_NOPULL;
    GPIO_InitStruct.Speed = GPIO_SPEED_FREQ_LOW;
    GPIO_InitStruct.Alternate = GPIO_AF5_SPI2;
    HAL_GPIO_Init(PDM_OUT_GPIO_Port, &GPIO_InitStruct);

    /*Configure GPIO pin : B1_Pin */
    GPIO_InitStruct.Pin = B1_Pin;
    GPIO_InitStruct.Mode = GPIO_MODE_EVT_RISING;
    GPIO_InitStruct.Pull = GPIO_NOPULL;
    HAL_GPIO_Init(B1_GPIO_Port, &GPIO_InitStruct);

    /*Configure GPIO pin : BOOT1_Pin */
    GPIO_InitStruct.Pin = BOOT1_Pin;
    GPIO_InitStruct.Mode = GPIO_MODE_INPUT;
    GPIO_InitStruct.Pull = GPIO_NOPULL;
    HAL_GPIO_Init(BOOT1_GPIO_Port, &GPIO_InitStruct);

    /*Configure GPIO pin : CLK_IN_Pin */
    GPIO_InitStruct.Pin = CLK_IN_Pin;
    GPIO_InitStruct.Mode = GPIO_MODE_AF_PP;
    GPIO_InitStruct.Pull = GPIO_NOPULL;
    GPIO_InitStruct.Speed = GPIO_SPEED_FREQ_LOW;
    GPIO_InitStruct.Alternate = GPIO_AF5_SPI2;
    HAL_GPIO_Init(CLK_IN_GPIO_Port, &GPIO_InitStruct);

    /*Configure GPIO pins : LD4_Pin LD3_Pin LD5_Pin LD6_Pin
                             Audio_RST_Pin */
    GPIO_InitStruct.Pin = LD4_Pin | LD3_Pin | LD5_Pin | LD6_Pin | Audio_RST_Pin;
    GPIO_InitStruct.Mode = GPIO_MODE_OUTPUT_PP;
    GPIO_InitStruct.Pull = GPIO_NOPULL;
    GPIO_InitStruct.Speed = GPIO_SPEED_FREQ_LOW;
    HAL_GPIO_Init(GPIOD, &GPIO_InitStruct);

    /*Configure GPIO pin : OTG_FS_OverCurrent_Pin */
    GPIO_InitStruct.Pin = OTG_FS_OverCurrent_Pin;
    GPIO_InitStruct.Mode = GPIO_MODE_INPUT;
    GPIO_InitStruct.Pull = GPIO_NOPULL;
    HAL_GPIO_Init(OTG_FS_OverCurrent_GPIO_Port, &GPIO_InitStruct);

    /*Configure GPIO pin : MEMS_INT2_Pin */
    GPIO_InitStruct.Pin = MEMS_INT2_Pin;
    GPIO_InitStruct.Mode = GPIO_MODE_EVT_RISING;
    GPIO_InitStruct.Pull = GPIO_NOPULL;
    HAL_GPIO_Init(MEMS_INT2_GPIO_Port, &GPIO_InitStruct);

}

/* USER CODE BEGIN 4 */

/**
 * @brief Optimized version using direct register access for minimal latency
 * @param p1-p6 Boolean states for each gate pulse output
 * @note Uses BSRR register for atomic pin set/reset
 * @note For DISC1, gate pulses would typically map to PE0-PE5 or other GPIO pins
 */
inline void apply_gate_pulses_fast(bool p1, bool p2, bool p3, bool p4, bool p5, bool p6)
{
    // Placeholder implementation for DISC1
    // In production, uncomment and map to actual gate driver pins

    // if (!gates_enabled) {
    //     // All gates off
    //     GPIOE->BSRR = 0x003F0000;  // Reset PE0-PE5 (bits 16-21)
    //     return;
    // }

    // // Build BSRR value: lower 16 bits = SET, upper 16 bits = RESET
    // unsigned int set_mask = 0;
    // unsigned int reset_mask = 0;

    // if (p1)
    //     set_mask |= GPIO_PIN_0;
    // else
    //     reset_mask |= GPIO_PIN_0;
    // if (p2)
    //     set_mask |= GPIO_PIN_1;
    // else
    //     reset_mask |= GPIO_PIN_1;
    // if (p3)
    //     set_mask |= GPIO_PIN_2;
    // else
    //     reset_mask |= GPIO_PIN_2;
    // if (p4)
    //     set_mask |= GPIO_PIN_3;
    // else
    //     reset_mask |= GPIO_PIN_3;
    // if (p5)
    //     set_mask |= GPIO_PIN_4;
    // else
    //     reset_mask |= GPIO_PIN_4;
    // if (p6)
    //     set_mask |= GPIO_PIN_5;
    // else
    //     reset_mask |= GPIO_PIN_5;

    // // Atomic write to BSRR: set and reset in one operation
    // GPIOE->BSRR = set_mask | (reset_mask << 16);
}

/**
 * @brief ADC conversion complete callback - High-frequency control task (Task 1)
 * @note Called by HAL_DMA_IRQHandler when ADC sequence completes
 * @note Execution frequency: 5 kHz (200 µs period, triggered by TIM3 TRGO)
 * @note Real-time constraint: Must complete within 200 µs
 * @param hadc Pointer to ADC handle
 */
void HAL_ADC_ConvCpltCallback(ADC_HandleTypeDef* hadc)
{
    // Skip if application not ready
    if (!application_ok) {
        return;
    }

    // Increment diagnostic counter
    g_adc_callback_count++;

    // Visual feedback: Toggle Blue LED (PD15) at 1 Hz
    // 2500 interrupts × 200µs = 500ms toggle period → 1 Hz blink
    task1_counter++;
    if (task1_counter >= 2500) {
        HAL_GPIO_TogglePin(GPIOD, GPIO_PIN_15);
        task1_counter = 0;
    }

    // Prepare structured inputs from ADC DMA buffer
    // DISC1 has only 1 ADC channel, so populate analog inputs
    task_inputs_t inputs = {0};
    inputs.analog_inputs.channels[0] = adc_dma_buffer[0];  // Single ADC channel
    inputs.analog_inputs.valid = true;
    inputs.digital_inputs.valid = false;       // No digital inputs on DISC1
    inputs.fiber_optic_rx.data_ready = false;  // No fiber optic on DISC1
    inputs.fiber_optic_rx.link_ok = false;

    // Prepare output structure for gate pulses and digital outputs
    task_outputs_t outputs = {0};

    // Execute high-frequency control task with structured I/O
    // This should contain:
    // - DC link current measurement processing
    // - Inner current control loop
    // - Firing angle calculation for thyristors
    // - Gate pulse generation timing
    yeet_task_200us(&inputs, &outputs);

    // Apply gate pulses atomically using BSRR
    apply_gate_pulses_fast(outputs.thyristor_pulses.a_plus, outputs.thyristor_pulses.c_minus,
        outputs.thyristor_pulses.b_plus, outputs.thyristor_pulses.a_minus, outputs.thyristor_pulses.c_plus,
        outputs.thyristor_pulses.b_minus);
}

/**
 * @brief TIM4 period elapsed callback - Medium-frequency control task (Task 2)
 * @note Called by HAL_TIM_IRQHandler when TIM4 update event occurs
 * @note Execution frequency: 1 kHz (1 ms period)
 * @note Real-time constraint: Must complete within 1 ms
 * @param htim Pointer to TIM handle
 */
void HAL_TIM_PeriodElapsedCallback(TIM_HandleTypeDef* htim)
{
    // Skip if application not ready
    if (!application_ok) {
        return;
    }

    if (htim->Instance == TIM4) {
        // Increment diagnostic counter
        g_tim4_callback_count++;

        // Visual feedback: Toggle Red LED (PD14) at 1 Hz
        // 500 interrupts × 1ms = 500ms toggle period → 1 Hz blink
        task2_counter++;
        if (task2_counter >= TASK2_TOGGLE_COUNT) {
            HAL_GPIO_TogglePin(GPIOD, GPIO_PIN_14);
            task2_counter = 0;
        }

        // Prepare task I/O structures
        task_inputs_t inputs = {0};
        inputs.analog_inputs.valid = false;  // No new ADC data in this task
        inputs.digital_inputs.valid = false;
        inputs.fiber_optic_rx.data_ready = false;
        inputs.fiber_optic_rx.link_ok = false;

        task_outputs_t outputs = {0};

        // Execute medium-frequency control task
        // This should contain:
        // - Speed/torque control loop
        // - Flux control calculations
        // - Protection monitoring (overcurrent, overvoltage)
        yeet_task_1000us(&inputs, &outputs);
    }
    else if (htim->Instance == TIM5) {
        // Increment diagnostic counter
        g_tim5_callback_count++;

        // Visual feedback: Toggle Orange LED (PD13) at 1 Hz
        // 50 interrupts × 10ms = 500ms toggle period → 1 Hz blink
        task3_counter++;
        if (task3_counter >= TASK3_TOGGLE_COUNT) {
            HAL_GPIO_TogglePin(GPIOD, GPIO_PIN_13);
            task3_counter = 0;
        }

        // Prepare task I/O structures
        task_inputs_t inputs = {0};
        inputs.analog_inputs.valid = false;
        inputs.digital_inputs.valid = false;
        inputs.fiber_optic_rx.data_ready = false;
        inputs.fiber_optic_rx.link_ok = false;

        task_outputs_t outputs = {0};
        inputs.fiber_optic_rx.data_ready = false;
        inputs.fiber_optic_rx.link_ok = false;

        // Execute low-frequency control task
        // This should contain:
        // - State machine management
        // - Communication protocol handling
        // - Diagnostics and logging
        // - Non-critical supervisory functions
        yeet_task_10000us(&inputs, &outputs);
    }
}

/**
 * @brief ADC conversion error callback
 * @note Called by HAL if DMA transfer fails or ADC encounters an error
 * @note This indicates a critical hardware fault requiring safe state entry
 * @param hadc Pointer to ADC handle
 */
void HAL_ADC_ErrorCallback(ADC_HandleTypeDef* hadc)
{
    // Increment error counter
    g_adc_error_count++;

    // Enter safe state - all LEDs ON indicates error condition
    HAL_GPIO_WritePin(GPIOD, GPIO_PIN_12 | GPIO_PIN_13 | GPIO_PIN_14 | GPIO_PIN_15, GPIO_PIN_SET);

    // Read error code for diagnostics
    uint32_t error_code = hadc->ErrorCode;

    // Possible error codes (from stm32f4xx_hal_adc.h):
    // HAL_ADC_ERROR_NONE     (0x00) - No error
    // HAL_ADC_ERROR_INTERNAL (0x01) - Internal error
    // HAL_ADC_ERROR_OVR      (0x02) - Overrun error (ADC too slow)
    // HAL_ADC_ERROR_DMA      (0x04) - DMA transfer error

    // TODO: Implement LCI-specific safety measures:
    // 1. Disable thyristor firing pulses immediately
    // 2. Set firing angles to safe blocking values (alpha = 180°)
    // 3. Transition to safe state in state machine
    // 4. Log error code to persistent storage
    // 5. Assert hardware interlock signal if available

    // For now, just record the error code
    (void)error_code;  // Suppress unused warning
}

/* USER CODE END 4 */

void Error_Handler(void)
{
    __disable_irq();
    while (1) {
    }
}
